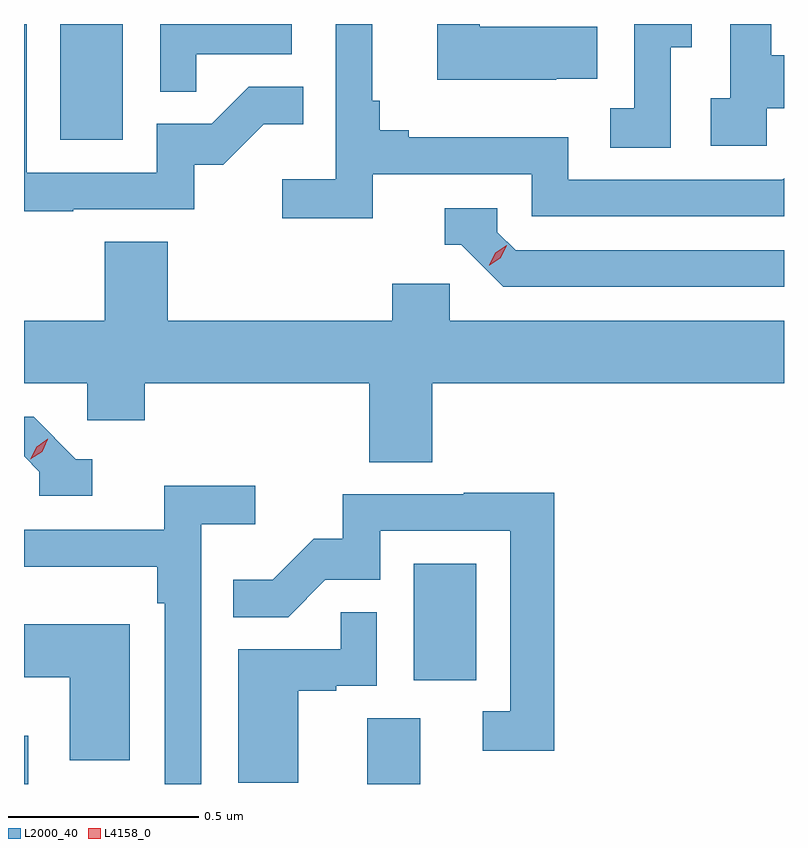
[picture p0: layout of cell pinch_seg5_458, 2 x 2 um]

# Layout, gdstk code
import gdstk
lib = gdstk.Library(unit=1e-6, precision=1e-09)
def R(c, l, rs):  # rectangles x0, y0, x1, y1
    for r in rs: c.add(gdstk.rectangle(r[:2], r[2:], *l))
def P(c, l, *ps):  # polygons
    for p in ps: c.add(gdstk.Polygon(p, *l))
L2000_40 = (2000, 40)
L4158_0 = (4158, 0)

pinch_seg5_458 = lib.new_cell('pinch_seg5_458')
R(pinch_seg5_458, L2000_40, [(925.13,859.701,925.141,859.828), (926.033,859.701,926.173,859.874), (926.156,859.974,926.32,860.281), (925.226,861.396,925.39,861.701)])
P(pinch_seg5_458, L2000_40, [(927.084,861.479),(927.13,861.479),(927.13,861.619),(927.097,861.619),(927.097,861.701),(926.988,861.701),(926.988,861.506),(926.937,861.506),(926.937,861.381),(927.084,861.381)],
  [(926.531,861.557),(926.639,861.557),(926.639,861.694),(926.329,861.694),(926.329,861.701),(926.217,861.701),(926.217,861.554),(926.531,861.554)],
  [(926.048,861.306),(926.466,861.306),(926.466,861.195),(927.13,861.195),(927.13,861.295),(927.126,861.291),(926.562,861.291),(926.562,861.403),(926.143,861.403),(926.143,861.422),(926.066,861.422),(926.066,861.499),(926.047,861.499),(926.047,861.701),(925.95,861.701),(925.95,861.292),(925.809,861.292),(925.809,861.19),(926.048,861.19)],
  [(925.259,861.213),(925.578,861.213),(925.578,861.33),(925.654,861.33),(925.761,861.437),(925.865,861.437),(925.865,861.536),(925.722,861.536),(925.624,861.438),(925.479,861.438),(925.479,861.309),(925.137,861.309),(925.137,861.701),(925.13,861.701),(925.13,861.208),(925.259,861.208)],
  [(925.583,861.621),(925.834,861.621),(925.834,861.701),(925.488,861.701),(925.488,861.523),(925.583,861.523)],
  [(926.832,861.64),(926.887,861.64),(926.887,861.701),(926.736,861.701),(926.736,861.479),(926.673,861.479),(926.673,861.376),(926.832,861.376)],
  [(927.13,861.105),(926.424,861.105),(926.376,861.153),(926.376,861.216),(926.237,861.216),(926.237,861.12),(926.28,861.12),(926.391,861.009),(927.13,861.009)],
  [(926.204,860.756),(927.13,860.756),(927.13,860.92),(926.25,860.92),(926.25,861.018),(926.099,861.018),(926.099,860.92),(925.508,860.92),(925.508,861.128),(925.343,861.128),(925.343,860.92),(925.13,860.92),(925.13,860.756),(925.296,860.756),(925.296,860.658),(925.448,860.658),(925.448,860.756),(926.039,860.756),(926.039,860.548),(926.204,860.548)],
  [(925.309,860.556),(925.266,860.556),(925.155,860.667),(925.13,860.667),(925.13,860.563),(925.17,860.523),(925.17,860.46),(925.309,860.46)],
  [(925.596,860.384),(925.738,860.384),(925.738,860.486),(925.499,860.486),(925.499,860.37),(925.13,860.37),(925.13,860.273),(925.48,860.273),(925.48,860.177),(925.5,860.177),(925.5,859.701),(925.596,859.701)],
  [(926.525,860.468),(926.287,860.468),(926.287,860.463),(925.969,860.463),(925.969,860.346),(925.892,860.346),(925.785,860.239),(925.681,860.239),(925.681,860.14),(925.825,860.14),(925.923,860.238),(926.067,860.238),(926.067,860.367),(926.409,860.367),(926.409,859.893),(926.337,859.893),(926.337,859.788),(926.525,859.788)],
  [(925.852,859.947),(925.952,859.947),(925.952,859.959),(926.058,859.959),(926.058,860.153),(925.963,860.153),(925.963,860.055),(925.694,860.055),(925.694,859.704),(925.852,859.704)],
  [(925.408,860.122),(925.13,860.122),(925.13,859.982),(925.25,859.982),(925.25,859.764),(925.408,859.764)])
P(pinch_seg5_458, L4158_0, [(926.354,861.066),(926.354,861.066),(926.37,861.099),(926.4,861.119),(926.4,861.119),(926.4,861.119),(926.385,861.086),(926.355,861.066)],
  [(925.147,860.556),(925.147,860.556),(925.163,860.589),(925.193,860.609),(925.193,860.609),(925.193,860.608),(925.178,860.576),(925.147,860.556)])

lib.write_gds('pinch_seg5_458.gds')
